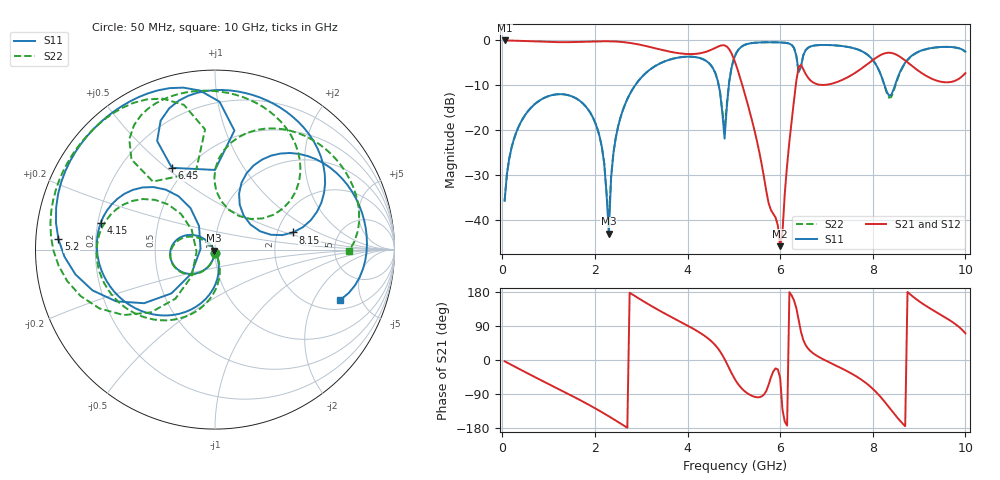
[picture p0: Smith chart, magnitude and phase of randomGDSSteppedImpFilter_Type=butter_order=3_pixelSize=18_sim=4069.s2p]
! freq	dB(S11)	phase(S11)	dB(S12)	phase(S12)
!  dB(S21)	phase(S21)	dB(S22)	phase(S22)
!S-par simulation data
#  GHz  S  DB  R 50
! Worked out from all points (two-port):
!   200 points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, 50 MHz to 10 GHz, reference 50 ohm
!   highest |S21| = -0.01 dB at 50 MHz (marker M1); lowest = -45.8 dB at 6 GHz (marker M2)
!   |S21| within 3 dB of the highest: start of sweep to 3.962 GHz; 4.154 GHz to 4.955 GHz (801.1 MHz wide, 17.6 % of centre) (the widest 2 of 3)
!   lowest |S11| = -43.0 dB at 2.3 GHz (marker M3), VSWR 1.01, Z = 49.6 - j0.576 ohm
!   |S11| at or under -10 dB: start of sweep to 2.869 GHz; 4.672 GHz to 4.893 GHz (221 MHz wide, 4.62 % of centre); 8.255 GHz to 8.48 GHz (224.1 MHz wide, 2.68 % of centre)
!   |S22| runs from -40.4 to -0.4 dB; largest |S21 - S12| = 0
!   S11 on the Smith chart (normalised r, x): 50 MHz: 1.00, -0.03; 4.15 GHz: 0.21, +0.11; 5.2 GHz: 0.07, +0.03; 6.45 GHz: 0.42, +0.52; 8.15 GHz: 2.44, +0.58; 10 GHz: 2.55, -3.29
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0.05  -35.74 -93.3  -0.01 -3.3  -0.01 -3.3  -35.74 -93.2
0.55  -15.82 -126.4  -0.16 -35.4  -0.16 -35.4  -15.82 -125.4
1.75  -14.13 158.1  -0.31 -110.3  -0.31 -110.3  -14.13 161.6
2.15  -23.76 132.9  -0.19 -137.6  -0.19 -137.6  -23.77 139.0
2.3  -43.03 -124.6  -0.19 -148.5  -0.19 -148.5  -40.36 -123.9
2.4  -25.10 -73.1  -0.22 -156.0  -0.22 -156.0  -25.00 -72.2
2.55  -17.24 -82.1  -0.31 -167.3  -0.31 -167.3  -17.21 -79.0
3.4  -5.15 -143.9  -1.99 130.0  -1.99 130.0  -5.14 -137.9
4.15  -3.69 167.0  -3.01 80.6  -3.01 80.6  -3.68 175.3
4.6  -7.28 129.4  -1.66 38.9  -1.66 38.9  -7.24 140.4
4.8  -21.86 177.5  -1.10 2.5  -1.10 2.5  -19.71 -173.5
5.05  -2.86 -161.6  -5.54 -56.1  -5.54 -56.1  -2.83 -153.0
5.2  -1.17 176.2  -10.57 -78.7  -10.57 -78.7  -1.15 -174.2
6  -0.44 116.7  -45.82 -47.1  -45.82 -47.1  -0.44 129.5
6.35  -3.45 80.7  -8.93 136.6  -8.93 136.6  -3.46 94.7
6.45  -5.76 117.8  -5.46 74.1  -5.46 74.1  -5.79 132.4
6.7  -1.21 99.9  -9.28 18.8  -9.28 18.8  -1.21 115.3
7.65  -1.92 44.5  -7.02 -43.6  -7.02 -43.6  -1.92 62.8
8.15  -7.02 12.4  -3.36 -94.8  -3.36 -94.8  -7.06 31.2
8.35  -12.32 35.1  -2.74 -124.7  -2.74 -124.7  -12.75 54.2
9.05  -2.24 38.5  -7.22 150.8  -7.22 150.8  -2.29 60.9
10  -2.48 -21.9  -7.28 70.4  -7.28 70.4  -2.54 -0.8
